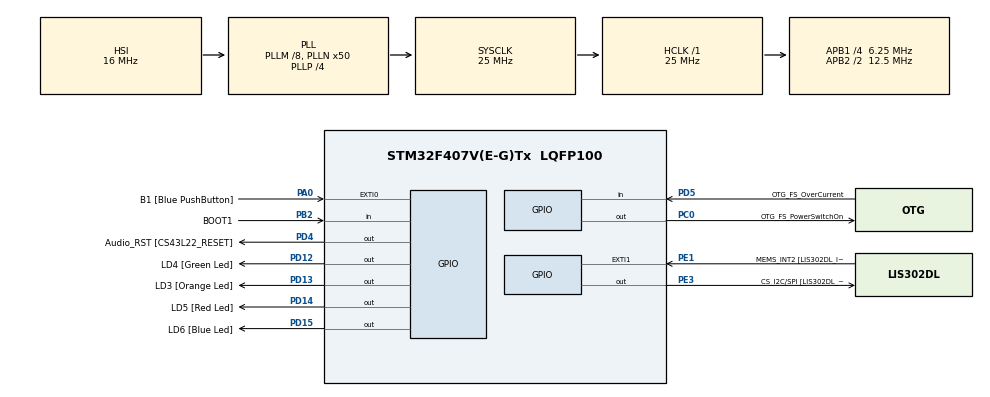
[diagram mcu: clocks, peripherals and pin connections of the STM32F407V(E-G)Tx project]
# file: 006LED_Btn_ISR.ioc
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Mcu.Family=STM32F4
Mcu.Name=STM32F407V(E-G)Tx
Mcu.Package=LQFP100
NVIC.EXTI0_IRQn=true\:6\:0\:true\:false\:true\:true\:true\:true
NVIC.PriorityGroup=NVIC_PRIORITYGROUP_4
NVIC.TIM6_DAC_IRQn=true\:0\:0\:false\:false\:true\:false\:true\:true
NVIC.TimeBase=TIM6_DAC_IRQn
NVIC.TimeBaseIP=TIM6
PA0-WKUP.GPIO_Label=B1 [Blue PushButton]
PA0-WKUP.GPIO_ModeDefaultEXTI=GPIO_MODE_IT_FALLING
PA0-WKUP.Signal=GPXTI0
PA10.GPIO_Label=OTG_FS_ID
PA10.GPIO_Mode=GPIO_MODE_AF_PP
PA10.GPIO_PuPd=GPIO_NOPULL
PA10.GPIO_Speed=GPIO_SPEED_FREQ_LOW
PA10.Signal=USB_OTG_FS_ID
PA11.GPIO_Label=OTG_FS_DM
PA11.GPIO_Mode=GPIO_MODE_AF_PP
PA11.GPIO_PuPd=GPIO_NOPULL
PA11.GPIO_Speed=GPIO_SPEED_FREQ_LOW
PA11.Signal=USB_OTG_FS_DM
PA12.GPIO_Label=OTG_FS_DP
PA12.GPIO_Mode=GPIO_MODE_AF_PP
PA12.GPIO_PuPd=GPIO_NOPULL
PA12.GPIO_Speed=GPIO_SPEED_FREQ_LOW
PA12.Signal=USB_OTG_FS_DP
PA13.GPIO_Label=SWDIO
PA13.Signal=SYS_JTMS-SWDIO
PA14.GPIO_Label=SWCLK
PA14.Signal=SYS_JTCK-SWCLK
PA4.GPIO_Label=I2S3_WS [CS43L22_LRCK]
PA4.GPIO_Mode=GPIO_MODE_AF_PP
PA4.GPIO_PuPd=GPIO_NOPULL
PA4.GPIO_Speed=GPIO_SPEED_FREQ_LOW
PA4.Signal=I2S3_WS
PA5.GPIO_Label=SPI1_SCK [LIS302DL_SCL/SPC]
PA5.GPIO_Mode=GPIO_MODE_AF_PP
PA5.GPIO_PuPd=GPIO_NOPULL
PA5.GPIO_Speed=GPIO_SPEED_FREQ_LOW
PA5.Signal=SPI1_SCK
PA6.GPIO_Label=SPI1_MISO [LIS302DL_SDO]
PA6.GPIO_Mode=GPIO_MODE_AF_PP
PA6.GPIO_PuPd=GPIO_NOPULL
PA6.GPIO_Speed=GPIO_SPEED_FREQ_LOW
PA6.Signal=SPI1_MISO
PA7.GPIO_Label=SPI1_MOSI [LIS302DL_SDA/SDI/SDO]
PA7.GPIO_Mode=GPIO_MODE_AF_PP
PA7.GPIO_PuPd=GPIO_NOPULL
PA7.GPIO_Speed=GPIO_SPEED_FREQ_LOW
PA7.Signal=SPI1_MOSI
PA9.GPIO_Label=VBUS_FS
PA9.GPIO_Mode=GPIO_MODE_INPUT
PA9.GPIO_PuPd=GPIO_NOPULL
PA9.Signal=USB_OTG_FS_VBUS
PB10.GPIO_Label=CLK_IN [MP45DT02_CLK]
PB10.GPIO_Mode=GPIO_MODE_AF_PP
PB10.GPIO_PuPd=GPIO_NOPULL
PB10.GPIO_Speed=GPIO_SPEED_FREQ_LOW
PB10.Signal=I2S2_CK
PB2.GPIO_Label=BOOT1
PB2.GPIO_Mode=GPIO_MODE_INPUT
PB2.GPIO_PuPd=GPIO_NOPULL
PB2.Signal=GPIO_Input
PB3.GPIO_Label=SWO
PB3.Signal=SYS_JTDO-SWO
PB6.GPIO_Label=Audio_SCL [CS43L22_SCL]
PB6.GPIO_Mode=GPIO_MODE_AF_OD
PB6.GPIO_PuPd=GPIO_NOPULL
PB6.GPIO_Speed=GPIO_SPEED_FREQ_LOW
PB6.Signal=I2C1_SCL
PB9.GPIO_Label=Audio_SDA [CS43L22_SDA]
PB9.GPIO_Mode=GPIO_MODE_AF_OD
PB9.GPIO_PuPd=GPIO_NOPULL
PB9.GPIO_Speed=GPIO_SPEED_FREQ_LOW
PB9.Signal=I2C1_SDA
PC0.GPIO_Label=OTG_FS_PowerSwitchOn
PC0.GPIO_PuPd=GPIO_NOPULL
PC0.GPIO_Speed=GPIO_SPEED_FREQ_LOW
PC0.PinState=GPIO_PIN_SET
PC0.Signal=GPIO_Output
PC10.GPIO_Label=I2S3_SCK [CS43L22_SCLK]
PC10.GPIO_Mode=GPIO_MODE_AF_PP
PC10.GPIO_PuPd=GPIO_NOPULL
PC10.GPIO_Speed=GPIO_SPEED_FREQ_LOW
PC10.Signal=I2S3_CK
PC12.GPIO_Label=I2S3_SD [CS43L22_SDIN]
PC12.GPIO_Mode=GPIO_MODE_AF_PP
PC12.GPIO_PuPd=GPIO_NOPULL
PC12.GPIO_Speed=GPIO_SPEED_FREQ_LOW
PC12.Signal=I2S3_SD
PC14-OSC32_IN.GPIO_Label=PC14-OSC32_IN
PC14-OSC32_IN.Signal=RCC_OSC32_IN
PC15-OSC32_OUT.GPIO_Label=PC15-OSC32_OUT
PC15-OSC32_OUT.Signal=RCC_OSC32_OUT
PC3.GPIO_Label=PDM_OUT [MP45DT02_DOUT]
PC3.GPIO_Mode=GPIO_MODE_AF_PP
PC3.GPIO_PuPd=GPIO_NOPULL
PC3.GPIO_Speed=GPIO_SPEED_FREQ_LOW
PC3.Signal=I2S2_SD
PC7.GPIO_Label=I2S3_MCK [CS43L22_MCLK]
PC7.GPIO_Mode=GPIO_MODE_AF_PP
PC7.GPIO_PuPd=GPIO_NOPULL
PC7.GPIO_Speed=GPIO_SPEED_FREQ_LOW
PC7.Signal=I2S3_MCK
PD12.GPIO_Label=LD4 [Green Led]
PD12.GPIO_PuPd=GPIO_NOPULL
PD12.GPIO_Speed=GPIO_SPEED_FREQ_LOW
PD12.Signal=GPIO_Output
PD13.GPIO_Label=LD3 [Orange Led]
PD13.GPIO_PuPd=GPIO_NOPULL
PD13.GPIO_Speed=GPIO_SPEED_FREQ_LOW
PD13.Signal=GPIO_Output
PD14.GPIO_Label=LD5 [Red Led]
PD14.GPIO_PuPd=GPIO_NOPULL
PD14.GPIO_Speed=GPIO_SPEED_FREQ_LOW
PD14.Signal=GPIO_Output
PD15.GPIO_Label=LD6 [Blue Led]
PD15.GPIO_PuPd=GPIO_NOPULL
PD15.GPIO_Speed=GPIO_SPEED_FREQ_LOW
PD15.Signal=GPIO_Output
PD4.GPIO_Label=Audio_RST [CS43L22_RESET]
PD4.GPIO_PuPd=GPIO_NOPULL
PD4.GPIO_Speed=GPIO_SPEED_FREQ_LOW
PD4.Signal=GPIO_Output
PD5.GPIO_Label=OTG_FS_OverCurrent
PD5.GPIO_Mode=GPIO_MODE_INPUT
PD5.GPIO_PuPd=GPIO_NOPULL
PD5.Signal=GPIO_Input
PE1.GPIO_Label=MEMS_INT2 [LIS302DL_INT2]
PE1.GPIO_ModeDefaultEXTI=GPIO_MODE_EVT_RISING
PE1.GPIO_PuPd=GPIO_NOPULL
PE1.Signal=GPXTI1
PE3.GPIO_Label=CS_I2C/SPI [LIS302DL_CS_I2C/SPI]
PE3.GPIO_PuPd=GPIO_NOPULL
PE3.GPIO_Speed=GPIO_SPEED_FREQ_LOW
PE3.Signal=GPIO_Output
PH0-OSC_IN.GPIO_Label=PH0-OSC_IN
PH0-OSC_IN.Mode=HSE-External-Oscillator
PH0-OSC_IN.Signal=RCC_OSC_IN
PH1-OSC_OUT.GPIO_Label=PH1-OSC_OUT
PH1-OSC_OUT.Mode=HSE-External-Oscillator
PH1-OSC_OUT.Signal=RCC_OSC_OUT
ProjectManager.HeapSize=0x200
ProjectManager.StackSize=0x400
ProjectManager.TargetToolchain=STM32CubeIDE
RCC.48MHZClocksFreq_Value=14285714.285714285
RCC.AHBFreq_Value=25000000
RCC.APB1CLKDivider=RCC_HCLK_DIV4
RCC.APB1Freq_Value=6250000
RCC.APB1TimFreq_Value=12500000
RCC.APB2CLKDivider=RCC_HCLK_DIV2
RCC.APB2Freq_Value=12500000
RCC.APB2TimFreq_Value=25000000
RCC.CortexFreq_Value=25000000
RCC.HCLKFreq_Value=25000000
RCC.HSE_VALUE=8000000
RCC.HSI_VALUE=16000000
RCC.LSE_VALUE=32768
RCC.PLLM=8
RCC.PLLN=50
RCC.PLLP=RCC_PLLP_DIV4
RCC.PLLQ=7
RCC.SYSCLKFreq_VALUE=25000000
RCC.SYSCLKSource=RCC_SYSCLKSOURCE_PLLCLK
RCC.VCOOutputFreq_Value=100000000
VP_SYS_VS_tim6.Mode=TIM6
board=STM32F407G-DISC1

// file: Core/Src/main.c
/* USER CODE BEGIN Header */
/**
  ******************************************************************************
  * @file           : main.c
  * @brief          : Main program body
  ******************************************************************************
  * @attention
  *
  * Copyright (c) 2024 STMicroelectronics.
  * All rights reserved.
  *
  * This software is licensed under terms that can be found in the LICENSE file
  * in the root directory of this software component.
  * If no LICENSE file comes with this software, it is provided AS-IS.
  *
  ******************************************************************************
  */
/* USER CODE END Header */
#include "main.h"

/* USER CODE BEGIN Includes */
#include <stdio.h>
#include "FreeRTOS.h"
#include "task.h"
/* USER CODE END Includes */

/* USER CODE BEGIN PV */
#define DWT_CTRL	(*(volatile uint32_t*)0xE0001000)
/* USER CODE END PV */

void SystemClock_Config(void);
static void MX_GPIO_Init(void);
/* USER CODE BEGIN PFP */
static void led_green_handler(void *parameters);
static void led_orange_handler(void *parameters);
static void led_red_handler(void *parameters);
void button_interrupt_handler(void *parameters);

TaskHandle_t ledg_task_handle;
TaskHandle_t ledo_task_handle;
TaskHandle_t ledr_task_handle;
TaskHandle_t btn_task_handle;

BaseType_t status;
TaskHandle_t volatile next_task_handle = NULL;

/* USER CODE END PFP */

int main(void)
{

  /* MCU Configuration--------------------------------------------------------*/

  /* Reset of all peripherals, Initializes the Flash interface and the Systick. */
  HAL_Init();

  /* Configure the system clock */
  SystemClock_Config();

  /* Initialize all configured peripherals */
  MX_GPIO_Init();
  /* USER CODE BEGIN 2 */

  DWT_CTRL |= (1 << 0);

  status = xTaskCreate(led_green_handler, "LED_green_task",200,NULL,3,&ledg_task_handle);

  configASSERT(status == pdPASS);

  next_task_handle=ledg_task_handle;

  status = xTaskCreate(led_orange_handler, "LED_orange_task",200,NULL,2,&ledo_task_handle);

  configASSERT(status == pdPASS);

  status = xTaskCreate(led_red_handler, "LED_red_task",200,NULL,1,&ledr_task_handle);

  configASSERT(status == pdPASS);

  //start the freeRTOS scheduler

   vTaskStartScheduler();

  /* USER CODE END 2 */

  /* Infinite loop */
  while (1)
  {

  }
}

void SystemClock_Config(void)
{
  RCC_OscInitTypeDef RCC_OscInitStruct = {0};
  RCC_ClkInitTypeDef RCC_ClkInitStruct = {0};

  /** Configure the main internal regulator output voltage
  */
  __HAL_RCC_PWR_CLK_ENABLE();
  __HAL_PWR_VOLTAGESCALING_CONFIG(PWR_REGULATOR_VOLTAGE_SCALE1);

  /** Initializes the RCC Oscillators according to the specified parameters
  * in the RCC_OscInitTypeDef structure.
  */
  RCC_OscInitStruct.OscillatorType = RCC_OSCILLATORTYPE_HSI;
  RCC_OscInitStruct.HSIState = RCC_HSI_ON;
  RCC_OscInitStruct.HSICalibrationValue = RCC_HSICALIBRATION_DEFAULT;
  RCC_OscInitStruct.PLL.PLLState = RCC_PLL_ON;
  RCC_OscInitStruct.PLL.PLLSource = RCC_PLLSOURCE_HSI;
  RCC_OscInitStruct.PLL.PLLM = 8;
  RCC_OscInitStruct.PLL.PLLN = 50;
  RCC_OscInitStruct.PLL.PLLP = RCC_PLLP_DIV4;
  RCC_OscInitStruct.PLL.PLLQ = 7;
  if (HAL_RCC_OscConfig(&RCC_OscInitStruct) != HAL_OK)
  {
    Error_Handler();
  }

  /** Initializes the CPU, AHB and APB buses clocks
  */
  RCC_ClkInitStruct.ClockType = RCC_CLOCKTYPE_HCLK|RCC_CLOCKTYPE_SYSCLK
                              |RCC_CLOCKTYPE_PCLK1|RCC_CLOCKTYPE_PCLK2;
  RCC_ClkInitStruct.SYSCLKSource = RCC_SYSCLKSOURCE_PLLCLK;
  RCC_ClkInitStruct.AHBCLKDivider = RCC_SYSCLK_DIV1;
  RCC_ClkInitStruct.APB1CLKDivider = RCC_HCLK_DIV4;
  RCC_ClkInitStruct.APB2CLKDivider = RCC_HCLK_DIV2;

  if (HAL_RCC_ClockConfig(&RCC_ClkInitStruct, FLASH_LATENCY_0) != HAL_OK)
  {
    Error_Handler();
  }
}

static void MX_GPIO_Init(void)
{
  GPIO_InitTypeDef GPIO_InitStruct = {0};

  /* GPIO Ports Clock Enable */
  __HAL_RCC_GPIOE_CLK_ENABLE();
  __HAL_RCC_GPIOC_CLK_ENABLE();
  __HAL_RCC_GPIOH_CLK_ENABLE();
  __HAL_RCC_GPIOA_CLK_ENABLE();
  __HAL_RCC_GPIOB_CLK_ENABLE();
  __HAL_RCC_GPIOD_CLK_ENABLE();

  /*Configure GPIO pin Output Level */
  HAL_GPIO_WritePin(CS_I2C_SPI_GPIO_Port, CS_I2C_SPI_Pin, GPIO_PIN_RESET);

  /*Configure GPIO pin Output Level */
  HAL_GPIO_WritePin(OTG_FS_PowerSwitchOn_GPIO_Port, OTG_FS_PowerSwitchOn_Pin, GPIO_PIN_SET);

  /*Configure GPIO pin Output Level */
  HAL_GPIO_WritePin(GPIOD, LD4_Pin|LD3_Pin|LD5_Pin|LD6_Pin
                          |Audio_RST_Pin, GPIO_PIN_RESET);

  /*Configure GPIO pin : CS_I2C_SPI_Pin */
  GPIO_InitStruct.Pin = CS_I2C_SPI_Pin;
  GPIO_InitStruct.Mode = GPIO_MODE_OUTPUT_PP;
  GPIO_InitStruct.Pull = GPIO_NOPULL;
  GPIO_InitStruct.Speed = GPIO_SPEED_FREQ_LOW;
  HAL_GPIO_Init(CS_I2C_SPI_GPIO_Port, &GPIO_InitStruct);

  /*Configure GPIO pin : OTG_FS_PowerSwitchOn_Pin */
  GPIO_InitStruct.Pin = OTG_FS_PowerSwitchOn_Pin;
  GPIO_InitStruct.Mode = GPIO_MODE_OUTPUT_PP;
  GPIO_InitStruct.Pull = GPIO_NOPULL;
  GPIO_InitStruct.Speed = GPIO_SPEED_FREQ_LOW;
  HAL_GPIO_Init(OTG_FS_PowerSwitchOn_GPIO_Port, &GPIO_InitStruct);

  /*Configure GPIO pin : PDM_OUT_Pin */
  GPIO_InitStruct.Pin = PDM_OUT_Pin;
  GPIO_InitStruct.Mode = GPIO_MODE_AF_PP;
  GPIO_InitStruct.Pull = GPIO_NOPULL;
  GPIO_InitStruct.Speed = GPIO_SPEED_FREQ_LOW;
  GPIO_InitStruct.Alternate = GPIO_AF5_SPI2;
  HAL_GPIO_Init(PDM_OUT_GPIO_Port, &GPIO_InitStruct);

  /*Configure GPIO pin : B1_Pin */
  GPIO_InitStruct.Pin = B1_Pin;
  GPIO_InitStruct.Mode = GPIO_MODE_IT_FALLING;
  GPIO_InitStruct.Pull = GPIO_NOPULL;
  HAL_GPIO_Init(B1_GPIO_Port, &GPIO_InitStruct);

  /*Configure GPIO pin : I2S3_WS_Pin */
  GPIO_InitStruct.Pin = I2S3_WS_Pin;
  GPIO_InitStruct.Mode = GPIO_MODE_AF_PP;
  GPIO_InitStruct.Pull = GPIO_NOPULL;
  GPIO_InitStruct.Speed = GPIO_SPEED_FREQ_LOW;
  GPIO_InitStruct.Alternate = GPIO_AF6_SPI3;
  HAL_GPIO_Init(I2S3_WS_GPIO_Port, &GPIO_InitStruct);

  /*Configure GPIO pins : SPI1_SCK_Pin SPI1_MISO_Pin SPI1_MOSI_Pin */
  GPIO_InitStruct.Pin = SPI1_SCK_Pin|SPI1_MISO_Pin|SPI1_MOSI_Pin;
  GPIO_InitStruct.Mode = GPIO_MODE_AF_PP;
  GPIO_InitStruct.Pull = GPIO_NOPULL;
  GPIO_InitStruct.Speed = GPIO_SPEED_FREQ_LOW;
  GPIO_InitStruct.Alternate = GPIO_AF5_SPI1;
  HAL_GPIO_Init(GPIOA, &GPIO_InitStruct);

  /*Configure GPIO pin : BOOT1_Pin */
  GPIO_InitStruct.Pin = BOOT1_Pin;
  GPIO_InitStruct.Mode = GPIO_MODE_INPUT;
  GPIO_InitStruct.Pull = GPIO_NOPULL;
  HAL_GPIO_Init(BOOT1_GPIO_Port, &GPIO_InitStruct);

  /*Configure GPIO pin : CLK_IN_Pin */
  GPIO_InitStruct.Pin = CLK_IN_Pin;
  GPIO_InitStruct.Mode = GPIO_MODE_AF_PP;
  GPIO_InitStruct.Pull = GPIO_NOPULL;
  GPIO_InitStruct.Speed = GPIO_SPEED_FREQ_LOW;
  GPIO_InitStruct.Alternate = GPIO_AF5_SPI2;
  HAL_GPIO_Init(CLK_IN_GPIO_Port, &GPIO_InitStruct);

  /*Configure GPIO pins : LD4_Pin LD3_Pin LD5_Pin LD6_Pin
                           Audio_RST_Pin */
  GPIO_InitStruct.Pin = LD4_Pin|LD3_Pin|LD5_Pin|LD6_Pin
                          |Audio_RST_Pin;
  GPIO_InitStruct.Mode = GPIO_MODE_OUTPUT_PP;
  GPIO_InitStruct.Pull = GPIO_NOPULL;
  GPIO_InitStruct.Speed = GPIO_SPEED_FREQ_LOW;
  HAL_GPIO_Init(GPIOD, &GPIO_InitStruct);

  /*Configure GPIO pins : I2S3_MCK_Pin I2S3_SCK_Pin I2S3_SD_Pin */
  GPIO_InitStruct.Pin = I2S3_MCK_Pin|I2S3_SCK_Pin|I2S3_SD_Pin;
  GPIO_InitStruct.Mode = GPIO_MODE_AF_PP;
  GPIO_InitStruct.Pull = GPIO_NOPULL;
  GPIO_InitStruct.Speed = GPIO_SPEED_FREQ_LOW;
  GPIO_InitStruct.Alternate = GPIO_AF6_SPI3;
  HAL_GPIO_Init(GPIOC, &GPIO_InitStruct);

  /*Configure GPIO pin : VBUS_FS_Pin */
  GPIO_InitStruct.Pin = VBUS_FS_Pin;
  GPIO_InitStruct.Mode = GPIO_MODE_INPUT;
  GPIO_InitStruct.Pull = GPIO_NOPULL;
  HAL_GPIO_Init(VBUS_FS_GPIO_Port, &GPIO_InitStruct);

  /*Configure GPIO pins : OTG_FS_ID_Pin OTG_FS_DM_Pin OTG_FS_DP_Pin */
  GPIO_InitStruct.Pin = OTG_FS_ID_Pin|OTG_FS_DM_Pin|OTG_FS_DP_Pin;
  GPIO_InitStruct.Mode = GPIO_MODE_AF_PP;
  GPIO_InitStruct.Pull = GPIO_NOPULL;
  GPIO_InitStruct.Speed = GPIO_SPEED_FREQ_LOW;
  GPIO_InitStruct.Alternate = GPIO_AF10_OTG_FS;
  HAL_GPIO_Init(GPIOA, &GPIO_InitStruct);

  /*Configure GPIO pin : OTG_FS_OverCurrent_Pin */
  GPIO_InitStruct.Pin = OTG_FS_OverCurrent_Pin;
  GPIO_InitStruct.Mode = GPIO_MODE_INPUT;
  GPIO_InitStruct.Pull = GPIO_NOPULL;
  HAL_GPIO_Init(OTG_FS_OverCurrent_GPIO_Port, &GPIO_InitStruct);

  /*Configure GPIO pins : Audio_SCL_Pin Audio_SDA_Pin */
  GPIO_InitStruct.Pin = Audio_SCL_Pin|Audio_SDA_Pin;
  GPIO_InitStruct.Mode = GPIO_MODE_AF_OD;
  GPIO_InitStruct.Pull = GPIO_NOPULL;
  GPIO_InitStruct.Speed = GPIO_SPEED_FREQ_LOW;
  GPIO_InitStruct.Alternate = GPIO_AF4_I2C1;
  HAL_GPIO_Init(GPIOB, &GPIO_InitStruct);

  /*Configure GPIO pin : MEMS_INT2_Pin */
  GPIO_InitStruct.Pin = MEMS_INT2_Pin;
  GPIO_InitStruct.Mode = GPIO_MODE_EVT_RISING;
  GPIO_InitStruct.Pull = GPIO_NOPULL;
  HAL_GPIO_Init(MEMS_INT2_GPIO_Port, &GPIO_InitStruct);

  /* EXTI interrupt init*/
  HAL_NVIC_SetPriority(EXTI0_IRQn, 6, 0);
  HAL_NVIC_EnableIRQ(EXTI0_IRQn);

}

/* USER CODE BEGIN 4 */

void button_interrupt_handler(void *parameters)
{

xTaskNotifyFromISR(next_task_handle,0,eNoAction,NULL);

}

static void led_green_handler(void *parameters)
{

	BaseType_t status;
	while(1){
		HAL_GPIO_TogglePin(GPIOD, LD4_Pin);
		status=xTaskNotifyWait(0,0,NULL,pdMS_TO_TICKS(1000));

		if(status==pdTRUE){
			portENTER_CRITICAL();
			next_task_handle=ledo_task_handle;
			HAL_GPIO_WritePin(GPIOD, LD4_Pin, GPIO_PIN_SET);
			portEXIT_CRITICAL();
			vTaskDelete(NULL);

		}
	}
}

static void led_orange_handler(void *parameters)
{
	BaseType_t status;
	while(1){
		HAL_GPIO_TogglePin(GPIOD, LD3_Pin);
		status=xTaskNotifyWait(0,0,NULL,pdMS_TO_TICKS(800));

				if(status==pdTRUE){
					portENTER_CRITICAL();
					next_task_handle=ledr_task_handle;
					HAL_GPIO_WritePin(GPIOD, LD3_Pin, GPIO_PIN_SET);
					portEXIT_CRITICAL();
					vTaskDelete(NULL);

				}
	}
}

static void led_red_handler(void *parameters)
{

	BaseType_t status;
	while(1){
		HAL_GPIO_TogglePin(GPIOD, LD5_Pin);
		status=xTaskNotifyWait(0,0,NULL,pdMS_TO_TICKS(400));

				if(status==pdTRUE){
					portENTER_CRITICAL();
					next_task_handle=NULL;
					HAL_GPIO_WritePin(GPIOD, LD5_Pin, GPIO_PIN_SET);
					portEXIT_CRITICAL();
					vTaskDelete(NULL);

				}
	}
}

/* USER CODE END 4 */

void HAL_TIM_PeriodElapsedCallback(TIM_HandleTypeDef *htim)
{
  if (htim->Instance == TIM6) {
    HAL_IncTick();
  }
}

void Error_Handler(void)
{
  __disable_irq();
  while (1)
  {
  }
}
